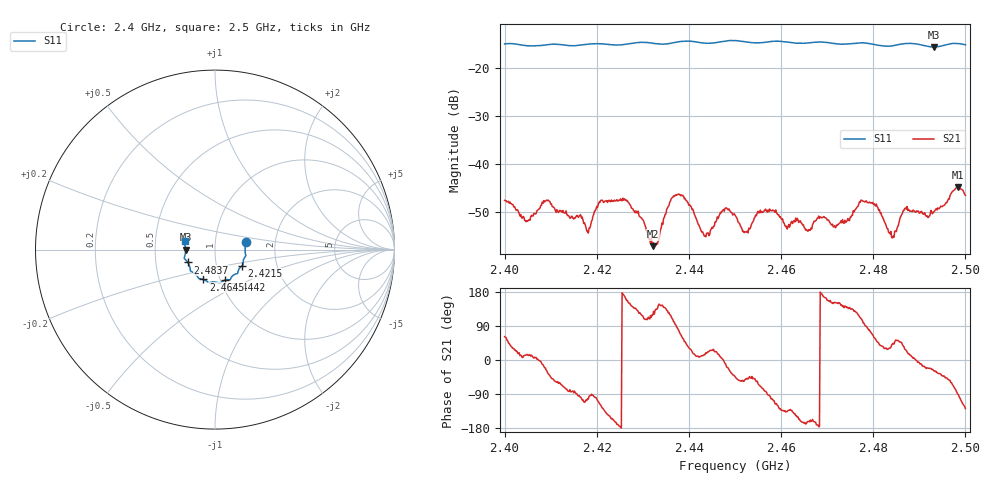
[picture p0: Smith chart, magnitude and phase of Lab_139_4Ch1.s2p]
# Hz S RI R 50
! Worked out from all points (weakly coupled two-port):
!   601 points, 2.4 GHz to 2.5 GHz, reference 50 ohm
!   highest |S21| = -44.82 dB at 2.4983 GHz (marker M1); lowest = -57.0 dB at 2.4322 GHz (marker M2)
!   lowest |S11| = -15.7 dB at 2.4932 GHz (marker M3), VSWR 1.39, Z = 35.9 - j0.0642 ohm
!   |S11| at or under -10 dB: start of sweep to end of sweep
!   S12 and S22 are empty: the file has one direction only
!   S11 on the Smith chart (normalised r, x): 2.4 GHz: 1.41, +0.12; 2.4215 GHz: 1.33, -0.25; 2.4442 GHz: 1.05, -0.37; 2.4645 GHz: 0.83, -0.29; 2.4837 GHz: 0.73, -0.11; 2.5 GHz: 0.71, +0.07
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2.4e9  0.1714 0.04  0.002 0.00371  0 0  0 0
2.404833e9  0.1682 0.0112  0.0025 0.000662  0 0  0 0
2.409e9  0.17 -0.0254  0.00377 -0.00184  0 0  0 0
2.416667e9  0.1568 -0.0699  -0.000533 -0.00271  0 0  0 0
2.418167e9  0.1556 -0.0799  -0.000431 -0.00188  0 0  0 0
2.4215e9  0.1511 -0.0897  -0.0026 -0.00302  0 0  0 0
2.4265e9  0.1294 -0.118  -0.00382 0.00162  0 0  0 0
2.432167e9  0.1164 -0.1356  -0.000684 0.00123  0 0  0 0
2.433333e9  0.1082 -0.1385  -0.00127 0.000966  0 0  0 0
2.4375e9  0.0874 -0.1623  0.000507 0.00482  0 0  0 0
2.444167e9  0.0566 -0.1694  0.0018 0.000733  0 0  0 0
2.45e9  0.0252 -0.1891  0.00215 -0.00204  0 0  0 0
2.452333e9  0.0155 -0.1842  0.00128 -0.00151  0 0  0 0
2.4645e9  -0.0657 -0.166  -0.00233 -0.000686  0 0  0 0
2.466667e9  -0.0827 -0.1621  -0.00201 -0.000711  0 0  0 0
2.477833e9  -0.1377 -0.1168  -0.000549 0.00407  0 0  0 0
2.483333e9  -0.1489 -0.0752  0.0017 0.000971  0 0  0 0
2.483667e9  -0.151 -0.0718  0.00161 0.000988  0 0  0 0
2.487e9  -0.1702 -0.0508  0.00311 0.00161  0 0  0 0
2.493167e9  -0.1636 -0.00087  0.00282 -0.00155  0 0  0 0
2.498333e9  -0.1728 0.0419  4.47e-07 -0.00574  0 0  0 0
2.5e9  -0.1649 0.0504  -0.00292 -0.00374  0 0  0 0
